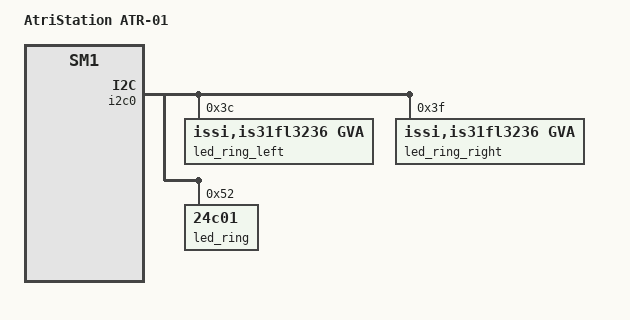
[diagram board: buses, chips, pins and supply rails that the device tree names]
/dts-v1/;

/ {
	compatible = "leftymods,atristation-atr-01", "amlogic,sm1";
	#address-cells = <2>;
	#size-cells = <2>;
	model = "AtriStation ATR-01";
	vendor = "leftymods";
	product-name = "AtriStation";
	product-model = "ATR";
	product-version = "01";
	amlogic-dt-id = "sm1_s905x3_atristation_atr_01_uboot";

	aliases {
		led-ring-left = &led_ring_left;
		led-ring-right = &led_ring_right;
		led-ring-eeprom = &led_ring;
	};

	soc {
		compatible = "simple-bus";
		#address-cells = <2>;
		#size-cells = <2>;
		ranges;

		cbus@ffd00000 {
			compatible = "simple-bus";
			#address-cells = <1>;
			#size-cells = <1>;
			ranges = <0x0 0x0 0xffd00000 0x26000>;

			i2c0: i2c@1f000 {
				compatible = "amlogic,meson-sm1-i2c";
				reg = <0x1f000 0x20>;
				status = "okay";
				#address-cells = <1>;
				#size-cells = <0>;

				led_ring_left: is31f3236a@3c {
					compatible = "issi,is31fl3236,gva";
					reg = <0x3c>;
					status = "okay";
					max-brightness-scale = <200>;
				};

				led_ring_right: is31f3236a@3f {
					compatible = "issi,is31fl3236,gva";
					reg = <0x3f>;
					status = "okay";
					max-brightness-scale = <200>;
				};

				led_ring: eeprom@52 {
					compatible = "24c01";
					reg = <0x52>;
					status = "okay";
				};
			};
		};
	};
};
